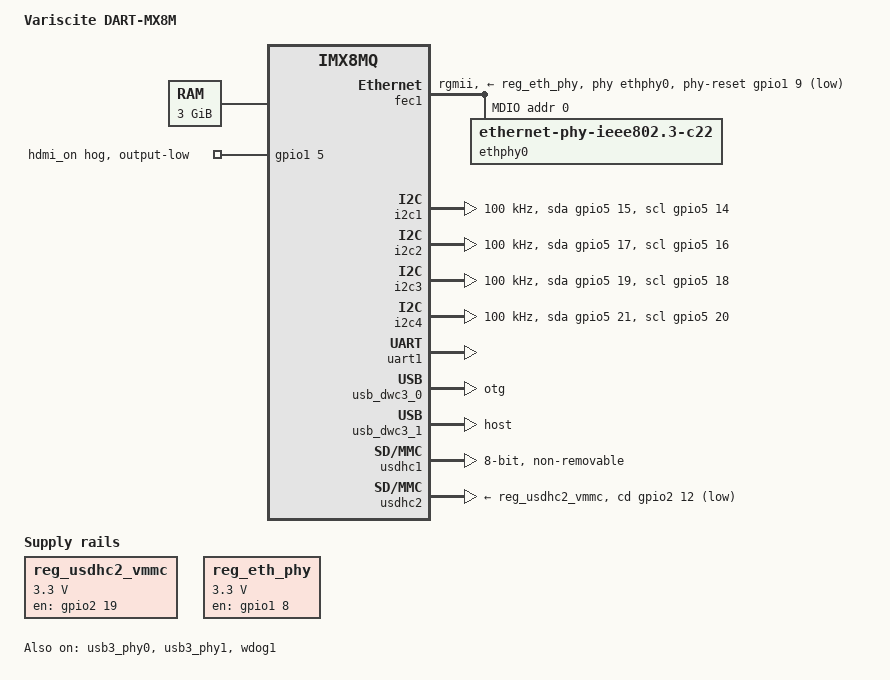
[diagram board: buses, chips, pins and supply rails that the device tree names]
// SPDX-License-Identifier: (GPL-2.0 OR MIT)
/*
 * Copyright 2017 NXP
 * Copyright (C) 2017-2018 Pengutronix, Lucas Stach <kernel@pengutronix.de>
 * Copyright 2020 Variscite Ltd.
 */

/dts-v1/;

#include "imx8mq.dtsi"

/ {
	model = "Variscite DART-MX8M";
	compatible = "fsl,imx8mq-evk", "fsl,imx8mq";

	chosen {
		bootargs = "console=ttymxc0,115200 earlycon=ec_imx6q,0x30860000,115200";
		stdout-path = &uart1;
	};

	memory@40000000 {
		device_type = "memory";
		reg = <0x00000000 0x40000000 0 0xc0000000>;
	};

	reg_usdhc2_vmmc: regulator-vsd-3v3 {
		pinctrl-names = "default";
		pinctrl-0 = <&pinctrl_reg_usdhc2>;
		compatible = "regulator-fixed";
		regulator-name = "VSD_3V3";
		regulator-min-microvolt = <3300000>;
		regulator-max-microvolt = <3300000>;
		gpio = <&gpio2 19 GPIO_ACTIVE_HIGH>;
		off-on-delay-us = <20000>;
		enable-active-high;
	};

	reg_eth_phy: eth_phy {
		compatible = "regulator-fixed";
		regulator-name = "eth_phy_pwr";
		regulator-min-microvolt = <3300000>;
		regulator-max-microvolt = <3300000>;
		gpio = <&gpio1 8 GPIO_ACTIVE_HIGH>;
		enable-active-high;
	};
};

&fec1 {
	pinctrl-names = "default";
	pinctrl-0 = <&pinctrl_fec1>;
	phy-mode = "rgmii";
	phy-handle = <&ethphy0>;
	phy-supply = <&reg_eth_phy>;
	phy-reset-gpios = <&gpio1 9 GPIO_ACTIVE_LOW>;
	phy-reset-duration = <10>;
	fsl,magic-packet;
	status = "okay";

	mdio {
		#address-cells = <1>;
		#size-cells = <0>;

		ethphy0: ethernet-phy@0 {
			compatible = "ethernet-phy-ieee802.3-c22";
			reg = <0>;
			at803x,eee-disabled;
		};
	};
};

&i2c1 {
	clock-frequency = <100000>;
	pinctrl-names = "default", "gpio";
	pinctrl-0 = <&pinctrl_i2c1>;
	pinctrl-1 = <&pinctrl_i2c1_gpio>;
	scl-gpios = <&gpio5 14 GPIO_ACTIVE_HIGH>;
	sda-gpios = <&gpio5 15 GPIO_ACTIVE_HIGH>;
	status = "okay";
};

&i2c2 {
	clock-frequency = <100000>;
	pinctrl-names = "default", "gpio";
	pinctrl-0 = <&pinctrl_i2c2>;
	pinctrl-1 = <&pinctrl_i2c2_gpio>;
	scl-gpios = <&gpio5 16 GPIO_ACTIVE_HIGH>;
	sda-gpios = <&gpio5 17 GPIO_ACTIVE_HIGH>;
	status = "okay";
};

&i2c3 {
	clock-frequency = <100000>;
	pinctrl-names = "default", "gpio";
	pinctrl-0 = <&pinctrl_i2c3>;
	pinctrl-1 = <&pinctrl_i2c3_gpio>;
	scl-gpios = <&gpio5 18 GPIO_ACTIVE_HIGH>;
	sda-gpios = <&gpio5 19 GPIO_ACTIVE_HIGH>;
	status = "okay";
};

&i2c4 {
	clock-frequency = <100000>;
	pinctrl-names = "default", "gpio";
	pinctrl-0 = <&pinctrl_i2c4>;
	pinctrl-1 = <&pinctrl_i2c4_gpio>;
	scl-gpios = <&gpio5 20 GPIO_ACTIVE_HIGH>;
	sda-gpios = <&gpio5 21 GPIO_ACTIVE_HIGH>;
	status = "okay";
};

/* console */
&uart1 {
	pinctrl-names = "default";
	pinctrl-0 = <&pinctrl_uart1>;
	assigned-clocks = <&clk IMX8MQ_CLK_UART1>;
	assigned-clock-parents = <&clk IMX8MQ_CLK_25M>;
	status = "okay";
};

&usb3_phy0 {
	status = "okay";
};

&usb_dwc3_0 {
	dr_mode = "otg";
	hnp-disable;
	srp-disable;
	adp-disable;
	usb-role-switch;
	snps,dis-u1-entry-quirk;
	snps,dis-u2-entry-quirk;
	status = "okay";
};

&usb3_phy1 {
	status = "okay";
};

&usb_dwc3_1 {
	dr_mode = "host";
	status = "okay";
};

/* eMMC */
&usdhc1 {
	pinctrl-names = "default", "state_100mhz", "state_200mhz";
	pinctrl-0 = <&pinctrl_usdhc1>;
	pinctrl-1 = <&pinctrl_usdhc1_100mhz>;
	pinctrl-2 = <&pinctrl_usdhc1_200mhz>;
	bus-width = <8>;
	non-removable;
	no-sd;
	no-sdio;
	status = "okay";
};

/* SD card */
&usdhc2 {
	pinctrl-names = "default", "state_100mhz", "state_200mhz";
	pinctrl-0 = <&pinctrl_usdhc2>;
	pinctrl-1 = <&pinctrl_usdhc2_100mhz>;
	pinctrl-2 = <&pinctrl_usdhc2_200mhz>;
	cd-gpios = <&gpio2 12 GPIO_ACTIVE_LOW>;
	vmmc-supply = <&reg_usdhc2_vmmc>;
	status = "okay";
};

&wdog1 {
	pinctrl-names = "default";
	pinctrl-0 = <&pinctrl_wdog>;
	fsl,ext-reset-output;
	status = "okay";
};

&dcss {
	status = "disabled";
	port@0 {
		dcss_out: endpoint {
			remote-endpoint = <&hdmi_in>;
		};
	};
};

&hdmi {
	compatible = "fsl,imx8mq-hdmi";
	status = "disabled";

	display-timings {
		native-mode = <&timing1>;

		timing1: timing1 {
			clock-frequency = <74250000>;
			hactive = <1280>;
			vactive = <720>;
			hfront-porch = <220>;
			hback-porch = <110>;
			hsync-len = <40>;
			vback-porch = <5>;
			vfront-porch = <20>;
			vsync-len = <5>;
		};
	};

	port@0 {
		hdmi_in: endpoint {
			remote-endpoint = <&dcss_out>;
		};
	};
};

&gpio1 {
	pinctrl-names = "default";
	pinctrl-0 = <&pinctrl_hdmi>;

	hdmi_on_hog {
		gpio-hog;
		gpios = <5 0>;
		output-low;
		line-name = "hdmi_on";
	};
};

&iomuxc {
	pinctrl-names = "default";

	pinctrl_fec1: fec1grp {
		fsl,pins = <
			MX8MQ_IOMUXC_ENET_MDC_ENET1_MDC			0x3
			MX8MQ_IOMUXC_ENET_MDIO_ENET1_MDIO		0x23
			MX8MQ_IOMUXC_ENET_TD3_ENET1_RGMII_TD3		0x1f
			MX8MQ_IOMUXC_ENET_TD2_ENET1_RGMII_TD2		0x1f
			MX8MQ_IOMUXC_ENET_TD1_ENET1_RGMII_TD1		0x1f
			MX8MQ_IOMUXC_ENET_TD0_ENET1_RGMII_TD0		0x1f
			MX8MQ_IOMUXC_ENET_RD3_ENET1_RGMII_RD3		0x91
			MX8MQ_IOMUXC_ENET_RD2_ENET1_RGMII_RD2		0x91
			MX8MQ_IOMUXC_ENET_RD1_ENET1_RGMII_RD1		0x91
			MX8MQ_IOMUXC_ENET_RD0_ENET1_RGMII_RD0		0x91
			MX8MQ_IOMUXC_ENET_TXC_ENET1_RGMII_TXC		0x1f
			MX8MQ_IOMUXC_ENET_RXC_ENET1_RGMII_RXC		0x91
			MX8MQ_IOMUXC_ENET_RX_CTL_ENET1_RGMII_RX_CTL	0x91
			MX8MQ_IOMUXC_ENET_TX_CTL_ENET1_RGMII_TX_CTL	0x1f
			MX8MQ_IOMUXC_GPIO1_IO08_GPIO1_IO8		0x19
			MX8MQ_IOMUXC_GPIO1_IO09_GPIO1_IO9		0x19
		>;
	};

	pinctrl_i2c1: i2c1grp {
		fsl,pins = <
			MX8MQ_IOMUXC_I2C1_SCL_I2C1_SCL			0x4000007f
			MX8MQ_IOMUXC_I2C1_SDA_I2C1_SDA			0x4000007f
		>;
	};

	pinctrl_i2c2: i2c2grp {
		fsl,pins = <
			MX8MQ_IOMUXC_I2C2_SCL_I2C2_SCL			0x4000007f
			MX8MQ_IOMUXC_I2C2_SDA_I2C2_SDA			0x4000007f
		>;
	};

	pinctrl_i2c3: i2c3grp {
		fsl,pins = <
			MX8MQ_IOMUXC_I2C3_SCL_I2C3_SCL			0x4000007f
			MX8MQ_IOMUXC_I2C3_SDA_I2C3_SDA			0x4000007f
		>;
	};

	pinctrl_i2c4: i2c4grp {
		fsl,pins = <
			MX8MQ_IOMUXC_I2C4_SCL_I2C4_SCL			0x4000007f
			MX8MQ_IOMUXC_I2C4_SDA_I2C4_SDA			0x4000007f
		>;
	};

	pinctrl_i2c1_gpio: i2c1grp-gpio {
		fsl,pins = <
			MX8MQ_IOMUXC_I2C1_SCL_GPIO5_IO14        		0x7f
			MX8MQ_IOMUXC_I2C1_SDA_GPIO5_IO15        		0x7f
		>;
	};

	pinctrl_i2c2_gpio: i2c2grp-gpio {
		fsl,pins = <
			MX8MQ_IOMUXC_I2C2_SCL_GPIO5_IO16        		0x7f
			MX8MQ_IOMUXC_I2C2_SDA_GPIO5_IO17        		0x7f
		>;
	};

	pinctrl_i2c3_gpio: i2c3grp-gpio {
		fsl,pins = <
			MX8MQ_IOMUXC_I2C3_SCL_GPIO5_IO18        		0x7f
			MX8MQ_IOMUXC_I2C3_SDA_GPIO5_IO19        		0x7f
		>;
	};

	pinctrl_i2c4_gpio: i2c4grp-gpio {
		fsl,pins = <
			MX8MQ_IOMUXC_I2C4_SCL_GPIO5_IO20        		0x7f
			MX8MQ_IOMUXC_I2C4_SDA_GPIO5_IO21        		0x7f
		>;
	};

	pinctrl_reg_usdhc2: regusdhc2grpgpio {
		fsl,pins = <
			MX8MQ_IOMUXC_SD2_CD_B_GPIO2_IO12	0x41
			MX8MQ_IOMUXC_SD2_RESET_B_GPIO2_IO19		0x41
		>;
	};

	pinctrl_uart1: uart1grp {
		fsl,pins = <
			MX8MQ_IOMUXC_UART1_RXD_UART1_DCE_RX		0x79
			MX8MQ_IOMUXC_UART1_TXD_UART1_DCE_TX		0x79
		>;
	};

	pinctrl_usdhc1: usdhc1grp {
		fsl,pins = <
			MX8MQ_IOMUXC_SD1_CLK_USDHC1_CLK			0x83
			MX8MQ_IOMUXC_SD1_CMD_USDHC1_CMD			0xc3
			MX8MQ_IOMUXC_SD1_DATA0_USDHC1_DATA0		0xc3
			MX8MQ_IOMUXC_SD1_DATA1_USDHC1_DATA1		0xc3
			MX8MQ_IOMUXC_SD1_DATA2_USDHC1_DATA2		0xc3
			MX8MQ_IOMUXC_SD1_DATA3_USDHC1_DATA3		0xc3
			MX8MQ_IOMUXC_SD1_DATA4_USDHC1_DATA4		0xc3
			MX8MQ_IOMUXC_SD1_DATA5_USDHC1_DATA5		0xc3
			MX8MQ_IOMUXC_SD1_DATA6_USDHC1_DATA6		0xc3
			MX8MQ_IOMUXC_SD1_DATA7_USDHC1_DATA7		0xc3
			MX8MQ_IOMUXC_SD1_STROBE_USDHC1_STROBE 		0x83
			MX8MQ_IOMUXC_SD1_RESET_B_USDHC1_RESET_B		0xc1
		>;
	};

	pinctrl_usdhc1_100mhz: usdhc1-100grp {
		fsl,pins = <
			MX8MQ_IOMUXC_SD1_CLK_USDHC1_CLK			0x8d
			MX8MQ_IOMUXC_SD1_CMD_USDHC1_CMD			0xcd
			MX8MQ_IOMUXC_SD1_DATA0_USDHC1_DATA0		0xcd
			MX8MQ_IOMUXC_SD1_DATA1_USDHC1_DATA1		0xcd
			MX8MQ_IOMUXC_SD1_DATA2_USDHC1_DATA2		0xcd
			MX8MQ_IOMUXC_SD1_DATA3_USDHC1_DATA3		0xcd
			MX8MQ_IOMUXC_SD1_DATA4_USDHC1_DATA4		0xcd
			MX8MQ_IOMUXC_SD1_DATA5_USDHC1_DATA5		0xcd
			MX8MQ_IOMUXC_SD1_DATA6_USDHC1_DATA6		0xcd
			MX8MQ_IOMUXC_SD1_DATA7_USDHC1_DATA7		0xcd
			MX8MQ_IOMUXC_SD1_STROBE_USDHC1_STROBE		0x8d
			MX8MQ_IOMUXC_SD1_RESET_B_USDHC1_RESET_B		0xc1
		>;
	};

	pinctrl_usdhc1_200mhz: usdhc1-200grp {
		fsl,pins = <
			MX8MQ_IOMUXC_SD1_CLK_USDHC1_CLK			0x9f
			MX8MQ_IOMUXC_SD1_CMD_USDHC1_CMD			0xdf
			MX8MQ_IOMUXC_SD1_DATA0_USDHC1_DATA0		0xdf
			MX8MQ_IOMUXC_SD1_DATA1_USDHC1_DATA1		0xdf
			MX8MQ_IOMUXC_SD1_DATA2_USDHC1_DATA2		0xdf
			MX8MQ_IOMUXC_SD1_DATA3_USDHC1_DATA3		0xdf
			MX8MQ_IOMUXC_SD1_DATA4_USDHC1_DATA4		0xdf
			MX8MQ_IOMUXC_SD1_DATA5_USDHC1_DATA5		0xdf
			MX8MQ_IOMUXC_SD1_DATA6_USDHC1_DATA6		0xdf
			MX8MQ_IOMUXC_SD1_DATA7_USDHC1_DATA7		0xdf
			MX8MQ_IOMUXC_SD1_STROBE_USDHC1_STROBE		0x9f
			MX8MQ_IOMUXC_SD1_RESET_B_USDHC1_RESET_B		0xc1
		>;
	};

	pinctrl_usdhc2: usdhc2grp {
		fsl,pins = <
			MX8MQ_IOMUXC_SD2_CLK_USDHC2_CLK			0x83
			MX8MQ_IOMUXC_SD2_CMD_USDHC2_CMD			0xc3
			MX8MQ_IOMUXC_SD2_DATA0_USDHC2_DATA0		0xc3
			MX8MQ_IOMUXC_SD2_DATA1_USDHC2_DATA1		0xc3
			MX8MQ_IOMUXC_SD2_DATA2_USDHC2_DATA2		0xc3
			MX8MQ_IOMUXC_SD2_DATA3_USDHC2_DATA3		0xc3
			MX8MQ_IOMUXC_GPIO1_IO04_USDHC2_VSELECT		0xc1
		>;
	};

	pinctrl_usdhc2_100mhz: usdhc2-100grp {
		fsl,pins = <
			MX8MQ_IOMUXC_SD2_CLK_USDHC2_CLK			0x85
			MX8MQ_IOMUXC_SD2_CMD_USDHC2_CMD			0xc5
			MX8MQ_IOMUXC_SD2_DATA0_USDHC2_DATA0		0xc5
			MX8MQ_IOMUXC_SD2_DATA1_USDHC2_DATA1		0xc5
			MX8MQ_IOMUXC_SD2_DATA2_USDHC2_DATA2		0xc5
			MX8MQ_IOMUXC_SD2_DATA3_USDHC2_DATA3		0xc5
			MX8MQ_IOMUXC_GPIO1_IO04_USDHC2_VSELECT		0xc1
		>;
	};

	pinctrl_usdhc2_200mhz: usdhc2-200grp {
		fsl,pins = <
			MX8MQ_IOMUXC_SD2_CLK_USDHC2_CLK			0x87
			MX8MQ_IOMUXC_SD2_CMD_USDHC2_CMD			0xc7
			MX8MQ_IOMUXC_SD2_DATA0_USDHC2_DATA0		0xc7
			MX8MQ_IOMUXC_SD2_DATA1_USDHC2_DATA1		0xc7
			MX8MQ_IOMUXC_SD2_DATA2_USDHC2_DATA2		0xc7
			MX8MQ_IOMUXC_SD2_DATA3_USDHC2_DATA3		0xc7
			MX8MQ_IOMUXC_GPIO1_IO04_USDHC2_VSELECT		0xc1
		>;
	};

	pinctrl_wdog: wdog1grp {
		fsl,pins = <
			MX8MQ_IOMUXC_GPIO1_IO02_WDOG1_WDOG_B		0xc6
		>;
	};

	pinctrl_hdmi: hdmigrp {
		fsl,pins = <
			MX8MQ_IOMUXC_GPIO1_IO05_GPIO1_IO5		0xc1
		>;
	};
};
